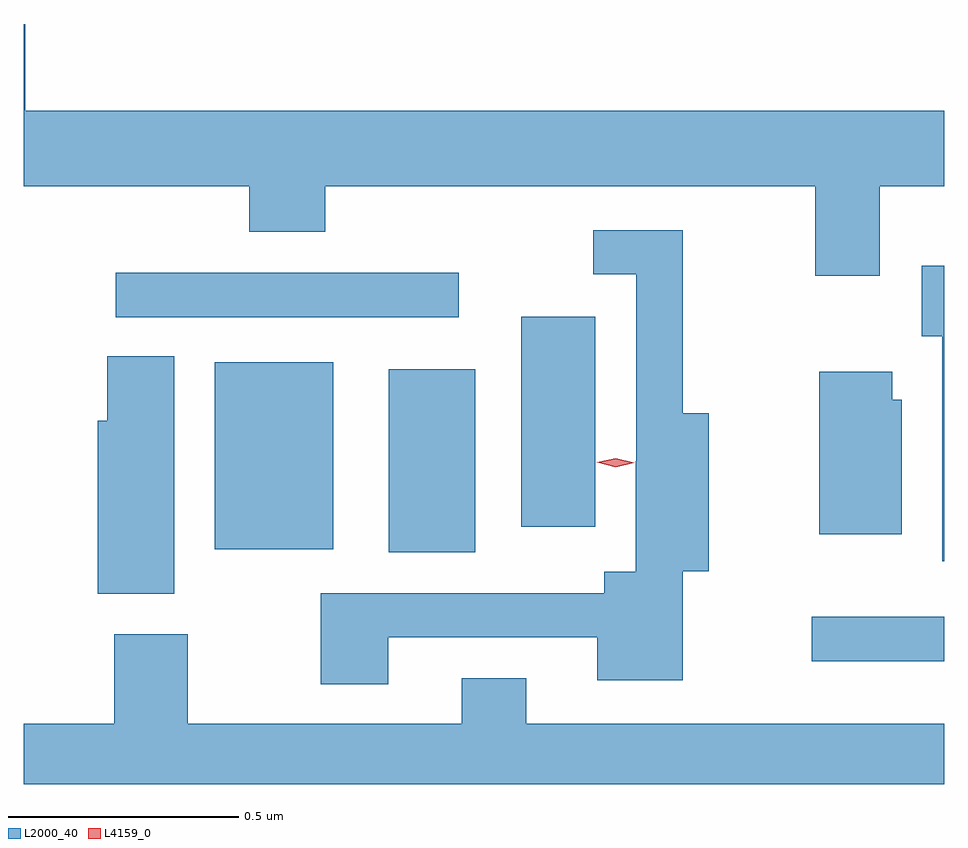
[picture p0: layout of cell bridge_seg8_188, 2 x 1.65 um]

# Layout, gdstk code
import gdstk
lib = gdstk.Library(unit=1e-6, precision=1e-09)
def R(c, l, rs):  # rectangles x0, y0, x1, y1
    for r in rs: c.add(gdstk.rectangle(r[:2], r[2:], *l))
def P(c, l, *ps):  # polygons
    for p in ps: c.add(gdstk.Polygon(p, *l))
L2000_40 = (2000, 40)
L4159_0 = (4159, 0)

bridge_seg8_188 = lib.new_cell('bridge_seg8_188')
R(bridge_seg8_188, L2000_40, [(370.677,1090.16,370.965,1090.257), (369.758,1090.397,369.946,1090.795), (369.38,1090.403,369.637,1090.81), (370.046,1090.452,370.207,1090.909), (369.165,1090.908,369.91,1091.004)])
P(bridge_seg8_188, L2000_40, [(370.825,1091.192),(370.965,1091.192),(370.965,1091.356),(368.968,1091.356),(368.968,1091.545),(368.965,1091.545),(368.965,1091.192),(369.455,1091.192),(369.455,1091.093),(369.62,1091.093),(369.62,1091.192),(370.685,1091.192),(370.685,1090.998),(370.825,1090.998)],
  [(369.757,1090.212),(370.211,1090.212),(370.211,1090.118),(370.397,1090.118),(370.397,1090.355),(370.453,1090.355),(370.453,1090.699),(370.397,1090.699),(370.397,1091.097),(370.203,1091.097),(370.203,1091.001),(370.296,1091.001),(370.296,1090.595),(370.295,1090.595),(370.295,1090.354),(370.226,1090.354),(370.226,1090.308),(369.61,1090.308),(369.61,1090.11),(369.757,1090.11)],
  [(370.965,1091.02),(370.916,1091.02),(370.916,1090.866),(370.961,1090.866),(370.961,1090.377),(370.965,1090.377)],
  [(369.292,1090.823),(369.146,1090.823),(369.146,1090.683),(369.125,1090.683),(369.125,1090.307),(369.292,1090.307)],
  [(370.873,1090.728),(370.852,1090.728),(370.852,1090.789),(370.694,1090.789),(370.694,1090.436),(370.873,1090.436)],
  [(370.965,1090.024),(370.057,1090.024),(370.057,1090.123),(369.917,1090.123),(369.917,1090.024),(369.321,1090.024),(369.321,1090.219),(369.161,1090.219),(369.161,1090.024),(368.965,1090.024),(368.965,1089.893),(370.965,1089.893)])
P(bridge_seg8_188, L4159_0, [(370.251,1090.581),(370.21,1090.592),(370.21,1090.592),(370.21,1090.592),(370.251,1090.601),(370.292,1090.591),(370.292,1090.591),(370.292,1090.591)])

lib.write_gds('bridge_seg8_188.gds')
